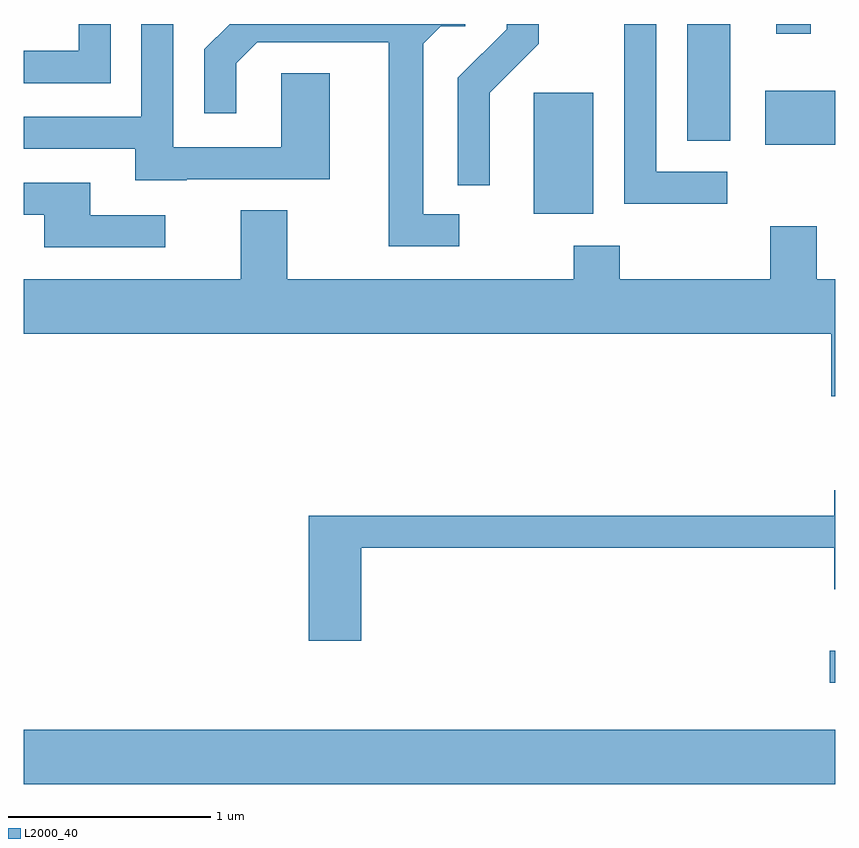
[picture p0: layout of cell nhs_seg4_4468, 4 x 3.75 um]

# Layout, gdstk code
import gdstk
lib = gdstk.Library(unit=1e-6, precision=1e-09)
def R(c, l, rs):  # rectangles x0, y0, x1, y1
    for r in rs: c.add(gdstk.rectangle(r[:2], r[2:], *l))
def P(c, l, *ps):  # polygons
    for p in ps: c.add(gdstk.Polygon(p, *l))
L2000_40 = (2000, 40)

nhs_seg4_4468 = lib.new_cell('nhs_seg4_4468')
R(nhs_seg4_4468, L2000_40, [(315.611,1350.236,319.611,1350.504), (319.583,1350.736,319.611,1350.894), (318.126,1353.046,318.419,1353.644), (319.266,1353.386,319.611,1353.654), (318.881,1353.406,319.094,1353.982), (319.321,1353.933,319.489,1353.982)])
P(nhs_seg4_4468, L2000_40, [(316.415,1353.216),(317.119,1353.216),(317.119,1353.739),(316.881,1353.739),(316.881,1353.374),(316.349,1353.374),(316.349,1353.982),(316.191,1353.982),(316.191,1353.524),(315.611,1353.524),(315.611,1353.366),(316.161,1353.366),(316.161,1353.211),(316.415,1353.211)],
  [(319.078,1353.254),(318.729,1353.254),(318.729,1353.982),(318.571,1353.982),(318.571,1353.096),(319.078,1353.096)],
  [(317.909,1353.644),(318.149,1353.884),(318.149,1353.982),(317.991,1353.982),(317.991,1353.957),(317.751,1353.717),(317.751,1353.188),(317.909,1353.188)],
  [(316.039,1353.982),(315.881,1353.982),(315.881,1353.849),(315.611,1353.849),(315.611,1353.691),(316.039,1353.691)],
  [(317.758,1353.044),(317.579,1353.044),(317.579,1353.884),(317.667,1353.971),(317.788,1353.971),(317.788,1353.982),(316.627,1353.982),(316.501,1353.857),(316.501,1353.543),(316.659,1353.543),(316.659,1353.789),(316.762,1353.891),(317.411,1353.891),(317.411,1352.886),(317.758,1352.886)],
  [(316.308,1353.039),(315.939,1353.039),(315.939,1353.199),(315.611,1353.199),(315.611,1353.041),(315.711,1353.041),(315.711,1352.881),(316.308,1352.881)],
  [(319.611,1352.724),(319.519,1352.724),(319.519,1352.984),(319.291,1352.984),(319.291,1352.724),(318.549,1352.724),(318.549,1352.889),(318.321,1352.889),(318.321,1352.724),(316.909,1352.724),(316.909,1353.064),(316.681,1353.064),(316.681,1352.724),(315.611,1352.724),(315.611,1352.456),(319.591,1352.456),(319.591,1352.146),(319.611,1352.146)],
  [(317.274,1351.401),(319.606,1351.401),(319.606,1351.196),(319.611,1351.196),(319.611,1351.684),(319.606,1351.684),(319.606,1351.559),(317.016,1351.559),(317.016,1350.941),(317.274,1350.941)])

lib.write_gds('nhs_seg4_4468.gds')
